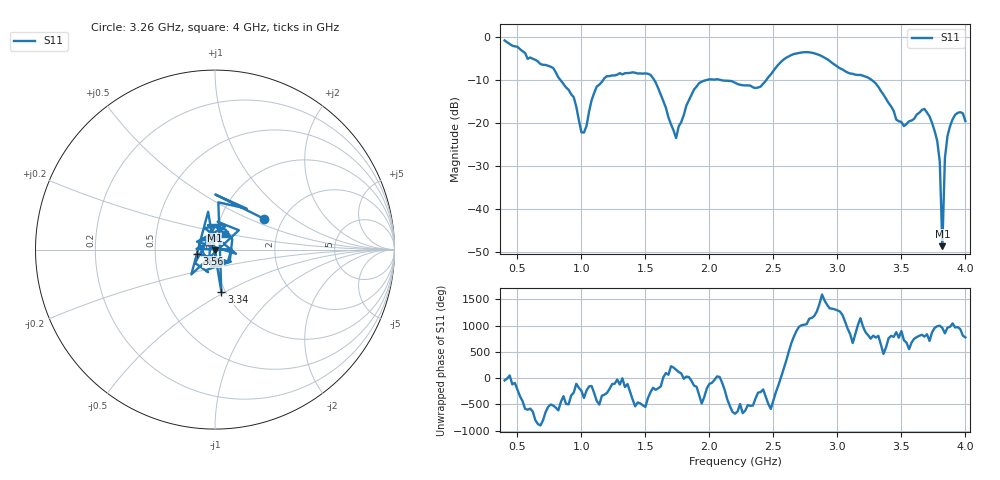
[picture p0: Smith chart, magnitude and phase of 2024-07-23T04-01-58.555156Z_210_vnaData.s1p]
!Created with skrf (http://scikit-rf.org).
# Hz S RI R 50.0
!freq ReS11 ImS11
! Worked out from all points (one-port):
!   181 points, 400 MHz to 4 GHz, reference 50 ohm
!   lowest |S11| = -48.6 dB at 3.82 GHz (marker M1), VSWR 1.01, Z = 49.8 - j0.31 ohm
!   |S11| at or under -10 dB: 1.569 GHz to 1.977 GHz (407.6 MHz wide, 23 % of centre); 2.091 GHz to 2.444 GHz (352.9 MHz wide, 15.6 % of centre); 3.268 GHz to end of sweep (the widest 3 of 4)
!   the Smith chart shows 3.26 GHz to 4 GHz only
!   S11 on the Smith chart (normalised r, x): 3.26 GHz: 1.61, +0.62; 3.34 GHz: 0.96, -0.47; 3.56 GHz: 0.81, -0.04; 4 GHz: 1.10, +0.20
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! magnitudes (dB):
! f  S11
! 400 MHz  -0.8
! 780 MHz  -7.2
! 860 MHz  -10.9
! 940 MHz  -14.0
! 1 GHz  -22.1
! 1.02 GHz  -22.2
! 1.12 GHz  -11.5
! 1.3 GHz  -8.4
! 1.54 GHz  -8.8
! 1.74 GHz  -23.5
! 1.76 GHz  -20.8
! 1.92 GHz  -10.7
! 2.2 GHz  -10.6
! 2.4 GHz  -11.5
! 2.66 GHz  -3.9
! 3.1 GHz  -8.5
! 3.26 GHz  -9.8
! 3.34 GHz  -12.5
! 3.46 GHz  -19.2
! 3.56 GHz  -19.6
! 3.68 GHz  -16.7
! 3.76 GHz  -21.9
! 3.8 GHz  -29.0
! 3.82 GHz  -48.6
! 3.84 GHz  -28.2
! 3.86 GHz  -23.0
! 3.92 GHz  -18.1
! 4 GHz  -19.5
